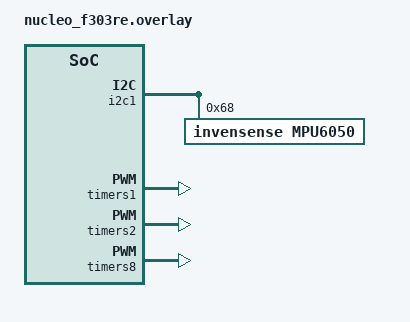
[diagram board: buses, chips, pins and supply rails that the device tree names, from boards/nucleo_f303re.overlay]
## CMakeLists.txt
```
cmake_minimum_required(VERSION 3.13.1)
find_package(Zephyr REQUIRED HINTS $ENV{ZEPHYR_BASE})
project(app)

target_sources(app PRIVATE src/main.c)
```

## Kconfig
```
menu "Zephyr"
source "Kconfig.zephyr"
endmenu

menu "Application"

module = APP
module-str = APP
source "subsys/logging/Kconfig.template.log_config"

menuconfig APP_MOTORS
    bool "Motors API"
    default y
    help
      Generic motor control API.
      Implemented over PWM API but may support different
      backends in the future.

if APP_MOTORS

    config APP_MOTORS_PWM_ZEPHYR
        bool "Zephyr-based PWM motors implementation"
        default y
        depends on PWM_MOTORS_DRV
        help
        Use Zephyr drivers for controlling PWM motors.

    config APP_MOTORS_PWM
        bool "Motors PWM low level API"
        default y
        depends on APP_MOTORS_PWM_ZEPHYR

endif

menuconfig APP_INPUT
    bool "Input API"
    default y
    help
        Generic remote controller input API. Supported backends include standard
        PWM and SBus UART.

if APP_INPUT

config APP_INPUT_SBUS_ZEPHYR
    bool "Zephyr based implementation of SBus UART"
    default n
    select APP_INPUT_SBUS_HAS_DRIVER
    help
      Use Zephyr UART drivers for Sbus UART.

config APP_INPUT_SBUS
    bool "Inputs SBus low level API"
    default y
    depends on UART_INTERRUPT_DRIVEN
    select APP_INPUT_SBUS_ZEPHYR

if APP_INPUT_SBUS

module = APP_INPUT_SBUS
module-str = Input SBus API
source "subsys/logging/Kconfig.template.log_config"

endif # APP_INPUT_SBUS

config APP_INPUT_SBUS_HAS_DRIVER
    bool

endif

menuconfig APP_IMU
    bool "IMU API"
    default y
    help
        IMU (Inertial Measurement Unit) API. Right now the only supported
        implementation uses Zephyr Sensor API.

if APP_IMU

config APP_IMU_ZEPHYR
    bool "Zephyr-based IMU API"
    default y
    depends on SENSOR
    help
        Use Zephyr sensor API for IMU data

endif

endmenu
```

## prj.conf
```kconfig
# Sensor API
CONFIG_SENSOR=y

# PWM capture API
CONFIG_PWM_CAPTURE=y

# logging
CONFIG_LOG=y
CONFIG_SENSOR_LOG_LEVEL_INF=y

# misc
CONFIG_ASSERT=y
CONFIG_REBOOT=y

# CMSIS kernel
CONFIG_POLL=y
CONFIG_NUM_PREEMPT_PRIORITIES=56
CONFIG_CMSIS_RTOS_V2=y
CONFIG_SYS_CLOCK_TICKS_PER_SEC=1000
CONFIG_CMSIS_V2_THREAD_DYNAMIC_MAX_COUNT=10
CONFIG_HEAP_MEM_POOL_SIZE=2048
CONFIG_CMSIS_V2_MSGQ_MAX_DYNAMIC_SIZE=1024

# CMSIS_DSP
CONFIG_NEWLIB_LIBC=y
CONFIG_NEWLIB_LIBC_NANO=n
CONFIG_CMSIS_DSP=y
CONFIG_CMSIS_DSP_CONTROLLER=y
CONFIG_CMSIS_DSP_QUATERNIONMATH=y

# Shell
CONFIG_SHELL=y
CONFIG_SETTINGS_SHELL=y

# NVM Settings
CONFIG_FLASH=y
CONFIG_FLASH_MAP=y
CONFIG_NVS=y
CONFIG_SETTINGS=y
CONFIG_SETTINGS_NVS=y

CONFIG_CBPRINTF_FP_SUPPORT=y

CONFIG_LED=y
```

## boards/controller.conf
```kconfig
CONFIG_APP_INPUT_SBUS=y
```

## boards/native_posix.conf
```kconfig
CONFIG_APP_MOTORS=n
CONFIG_APP_INPUT=n
CONFIG_APP_IMU=n
```

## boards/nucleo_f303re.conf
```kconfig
CONFIG_MPU6050=y
CONFIG_PWM=y
CONFIG_PWM_STM32=y
CONFIG_PWM_CAPTURE=y
```

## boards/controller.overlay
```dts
/ {
    chosen {
        zephyr,code-partition = &slot0_partition;
        zephyr,settings-partition = &storage_partition;
    };

    aliases {
        pwm-inputs = &pwm_inputs;
        pwm-motors = &pwm_motors;
        imu = &lsm6dso;
        sbus = &sbus_uart;
        leds = &leds;
    };

    pwm_inputs: pwm-inputs {
        compatible = "pwm-inputs";
        channel0: channel0 {
            pwms = < &pwm0 1 0 0 >;
        };
        channel1: channel1 {
            pwms = < &pwm0 2 0 0 >;
        };
        channel2: channel2 {
            pwms = < &pwm1 1 0 0 >;
        };
        channel3: channel3 {
            pwms = < &pwm1 2 0 0 >;
        };
        channel4: channel4 {
            pwms = < &pwm2 1 0 0 >;
        };
        channel5: channel5 {
            pwms = < &pwm2 2 0 0 >;
        };

    };

    pwm_motors: pwm-motors {
        compatible = "pwm-motors";
        motor0: motor0 {
            pwms = < &pwm0 3 0 0 >;
        };
        motor1: motor1 {
            pwms = < &pwm0 4 0 0 >;
        };
        motor2: motor2 {
            pwms = < &pwm2 3 0 0 >;
        };
        motor4: motor4 {
            pwms = < &pwm2 4 0 0 >;
        };
    };
};

&lsm6dso {
    accel-range = < 2 >;
    /* LPF1 cutoff frequency 104 / 2 Hz. */
    accel-odr = < 4 >;
    gyro-range = < 2 >;
    /* LPF2 cutoff frequency 104 / 2 Hz. */
    gyro-odr = < 4 >;
};

sbus_uart: &usart3 {
    data-bits = < 8 >;
    parity = "even";
    stop-bits = "2";
};

&flash0 {
    partitions {
        compatible = "fixed-partitions";
        #address-cells = <1>;
        #size-cells = <1>;

        slot0_partition: partition@0 {
            label = "image-0";
            reg = <0x00000000 0x00076000>;
        };
        storage_partition: partition@76000 {
            label = "storage";
            reg = <0x00076000 0x00004000>;
        };
    };
};
```

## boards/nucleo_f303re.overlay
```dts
/ {
    aliases {
        pwm-inputs = &pwm_inputs;
        imu = &mpu6050;
    };

    pwm_inputs: pwm-inputs {
        compatible = "pwm-inputs";
        channel0: channel0 {
            pwms = < &pwm0 1 0 0 >;
        };
        channel1: channel1 {
            pwms = < &pwm0 2 0 0 >;
        };
        channel2: channel2 {
            pwms = < &pwm1 1 0 0 >;
        };
        channel3: channel3 {
            pwms = < &pwm1 2 0 0 >;
        };
        channel4: channel4 {
            pwms = < &pwm2 1 0 0 >;
        };
        channel5: channel5 {
            pwms = < &pwm2 2 0 0 >;
        };
    };
};

&i2c1 {
    mpu6050: mpu6050@68 {
        status = "okay";
        compatible = "invensense,mpu6050";
        reg = < 0x68 >;
    };
};

&timers1 {
    status = "okay";
    st,prescaler = <100>;

    pwm0: pwm {
        status = "okay";
        pinctrl-0 = < &tim1_ch1_pc0 &tim1_ch2_pc1 >;
	    pinctrl-names = "default";
    };
};

&timers2 {
    status = "okay";
    st,prescaler = <100>;

    pwm1: pwm {
        status = "okay";
        pinctrl-0 = < &tim2_ch1_pa0 &tim2_ch2_pa1 >;
        pinctrl-names = "default";
    };
};

&timers8 {
    status = "okay";
    st,prescaler = <100>;

    pwm2: pwm {
        status = "okay";
        pinctrl-0 = < &tim8_ch1_pc6 &tim8_ch2_pc7 >;
        pinctrl-names = "default";
    };
};

/*
&timers3 {
    status = "okay";
    st,prescaler = <100>;

    pwm3: pwm {
        status = "okay";
        pinctrl-0 = < &tim3_ch1_pb4 >;
        pinctrl-names = "default";
    };
};

&timers4 {
    status = "okay";
    st,prescaler = <100>;

    pwm4: pwm {
        status = "okay";
        pinctrl-0 = < &tim4_ch1_pa11 &tim4_ch2_pa12 >;
        pinctrl-names = "default";
    };
};
*/

/* This one will not work together with timers1 due to shared IRQ */
&timers15 {
    status = "disabled";

    pwm5: pwm {
        status = "disabled";
    };
};
```

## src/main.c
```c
#include "controller/controller.h"
#include "controller/pid.h"
#include "zephyr/sys/printk.h"
#include <controller/configs.h>
#include <controller/config_dispatcher.h>
#include <app/logging.h>
#include <controller/imu.h>
#include <controller/filter.h>
#include <controller/attitude.h>
#include <app/unit.h>
#include <controller/mixer.h>
#include <controller/pid_inst.h>
#include <controller/motors.h>
#include <app/calc.h>

#include <zephyr/kernel.h>

#include <cmsis_os2.h>

APP_LOG_MODULE_REGISTER(main, LOG_LEVEL_INF);

static struct {
    float throttle;
} input;

static bool armed = false;

osSemaphoreId_t data_filled_sem;
osSemaphoreId_t data_empty_sem;

/* RX input channels. */
float rx_data[CHANNEL_FUNC_LAST];

void input_cb(float *data, int size)
{
    if (osOK == osSemaphoreAcquire(data_empty_sem, 0)) {
        memcpy(rx_data, data, size);
        osSemaphoreRelease(data_filled_sem);
    } else {
        return;
    }
}

int main(void)
{
    if (!configs_load_all()) {
        LOG_ERR("Failed to load configuration from memory!");
        return -1;
    }
    LOG_INF("Loaded configuration from memory");

    if (!config_dispatcher_update_all()) {
        LOG_ERR("Failed to apply configurations!");
        return -1;
    }
    LOG_INF("Configuration applied to subsystems");

    // TODO: Implement separate controller module and use it to control mode
    struct controller_config ctrl_cfg;
    configs_get_controller(&ctrl_cfg);
    LOG_INF("Controller mode: %s", ctrl_cfg.mode == CONTROLLER_MODE_ANGLE ? "angle" : "rate");

    struct imu_data imu_data = {};
    float angles[2];
    float input_throttle = 0;
    mixer_configure_default();

    data_empty_sem = osSemaphoreNew(1, 1, NULL);
    data_filled_sem = osSemaphoreNew(1, 0, NULL);
    if (!data_empty_sem || !data_filled_sem) {
        LOG_ERR("Failed to create data semaphores");
    }

    input_init(input_cb);
    input_start();

    struct input_channel_config cfg;
    (void)input_get_config(CHANNEL_ARM, &cfg);

    float req_pitch = 0.0;
    float req_roll = 0.0;
    float req_yaw = 0.0;
    float req_throttle = 0.0;
    float arm_val = 0.0;

        /* Value needs to be more than 60% of the signal. */
    float arm_threshold = (cfg.max_val + cfg.min_val) / 1.5;

    while (1) {
        /* Read IMU data.*/
        imu_get_data(&imu_data);
        /* Estimate attitude. Basic euler angles. */
        attitude_euler_from_acc(angles, imu_data.accel);

        /* Convert to degrees for further calculations. */
        for(int i = 0; i < 2; i++) {
            angles[i] = RAD_TO_DEG_F(angles[i]);
        }

        if (osOK == osSemaphoreAcquire(data_filled_sem, 0)) {
            req_pitch = rx_data[CHANNEL_PITCH];
            req_roll = rx_data[CHANNEL_ROLL];
            req_yaw = rx_data[CHANNEL_YAW];
            req_throttle = rx_data[CHANNEL_THROTTLE];
            arm_val = rx_data[CHANNEL_ARM];
            osSemaphoreRelease(data_empty_sem);
        }

        input_throttle = req_throttle;
        /* TODO: Allow to create binary channels. For now just assume armed when value is more
        than half. */
        if (arm_val > arm_threshold && !armed) {
            LOG_WRN("Arming motors! input: %.2f", arm_val);
            armed = true;
        } else if (arm_val < arm_threshold && armed) {
            LOG_INF("Disarming motors!");
            armed = false;
        }

        /* Reduce sensitivity in the middle position. */
        req_pitch = IS_BETWEEN(req_pitch, -1, 1) ? 0 : req_pitch;
        req_roll = IS_BETWEEN(req_roll, -1, 1) ? 0 : req_roll;
        req_yaw = IS_BETWEEN(req_yaw, -1, 1) ? 0 : req_yaw;

        float req_pitch_rate = req_pitch;
        float req_roll_rate = req_roll;

        if (ctrl_cfg.mode == CONTROLLER_MODE_ANGLE) {
            float pitch_angle_error = req_pitch - angles[0];
            float roll_angle_error = req_roll - angles[1];
            req_pitch_rate = pid_inst_process(PID_ANGLE, AXIS_PITCH, pitch_angle_error);
            req_roll_rate = pid_inst_process(PID_ANGLE, AXIS_ROLL, roll_angle_error);
        }

        /* Angle PID controller provides target angular velocity. */
        float pitch_rate_error = req_pitch_rate - imu_data.ang_v[1];
        float roll_rate_error = req_roll_rate - imu_data.ang_v[0];
        float yaw_rate_error = req_yaw - RAD_TO_DEG_F(imu_data.ang_v[2]);

        /* Process rate PIDs. */
        float pitch_pid = pid_inst_process(PID_RATE, AXIS_PITCH, pitch_rate_error);
        float roll_pid = pid_inst_process(PID_RATE, AXIS_ROLL, roll_rate_error);
        float yaw_pid = pid_inst_process(PID_RATE, AXIS_YAW, yaw_rate_error);

        /* Failsafe. */
        if (!armed) {
            motor_set(MOTOR_FRONT_LEFT, 0);
            motor_set(MOTOR_FRONT_RIGHT, 0);
            motor_set(MOTOR_BACK_LEFT, 0);
            motor_set(MOTOR_BACK_RIGHT, 0);
            pid_inst_reset_all();
            goto sleep;
        }

        struct mixer in = {
            .throttle = (int) input_throttle,
            .roll = (int) roll_pid,
            .yaw = (int) yaw_pid,
            .pitch = (int) pitch_pid,
        };

        /* Mix the output between motors. */
        uint32_t throttle_fl = mixer_get_motor_throttle(MOTOR_FRONT_LEFT, &in);
        uint32_t throttle_fr = mixer_get_motor_throttle(MOTOR_FRONT_RIGHT, &in);
        uint32_t throttle_bl = mixer_get_motor_throttle(MOTOR_BACK_LEFT, &in);
        uint32_t throttle_br = mixer_get_motor_throttle(MOTOR_BACK_RIGHT, &in);

        /* Apply throttle to motors. */
        /** TODO: Use percentage (perhaps float) to set throttle to motors.
            * This assumes knowledge about the configured range.
            */
        motor_set(MOTOR_FRONT_LEFT, throttle_fl > 1000 ? 1000 : throttle_fl);
        motor_set(MOTOR_FRONT_RIGHT, throttle_fr > 1000 ? 1000 : throttle_fr);
        motor_set(MOTOR_BACK_LEFT, throttle_bl > 1000 ? 1000 : throttle_bl);
        motor_set(MOTOR_BACK_RIGHT, throttle_br > 1000 ? 1000 : throttle_br);

sleep:
        k_sleep(K_MSEC(1));
    }
        return 0;
}
```

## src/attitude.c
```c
#include <math.h> /** TODO: Consider using cmsis fastmath */
#include <controller/attitude.h>
#include <controller/quaternion.h>
#include <app/calc.h>

/** See: https://folk.ntnu.no/skoge/prost/proceedings/ecc-2013/data/papers/0927.pdf
  * Access 24.04.2023
  *
  * For more useful info about converting quaternion to euler see:
  * http://www.euclideanspace.com/maths/geometry/rotations/conversions/quaternionToEuler/index.htm
  *
  * TODO: Handle singularities.
  * TODO: cmsis fastmath could probably be used insted of math.h
  */
void attitude_quaternion_to_euler(float q[4], float ang[3]) {
    float tmp_1, tmp_2;
    float sqw = q[0] * q[0];
    float sqx = q[1] * q[1];
    float sqy = q[2] * q[2];
    float sqz = q[3] * q[3];
    // roll
    tmp_1 = 2.0f * (q[0] * q[1] + q[2] * q[3]);
    tmp_2 = sqw - sqx - sqy + sqz;
    ang[1] = atan2f(tmp_1, tmp_2);
    // pitch
    tmp_1 = 2.0f * (q[0] * q[2] - q[3] * q[1]);
    ang[0] = asin(tmp_1);
    // yaw
    tmp_1 = 2.0f * (q[0] * q[3] + q[1] * q[2]);
    tmp_2 = sqw + sqx - sqy - sqz;
    ang[2] = atan2f(tmp_1, tmp_2);
};

void attitude_euler_from_acc(float angles[2], float acc[3]) {
    angles[0] = atan2(-1 * acc[0], sqrt(acc[1] * acc[1] + acc[2] * acc[2]));
    angles[1] = atan2(acc[1], acc[2]);
}

void attitude_propagate_quaternion(float q_att[4], float ang_v[3], float dt) {
    float q_dt[4] = {1.0f, 0.0f, 0.0f, 0.0f};
    float q_v[4] = {0.0f, ang_v[0], ang_v[1], ang_v[2]};

    quaternion_product(q_att, q_v, q_dt);
    for (int i = 0; i < 4; i++) {
        q_dt[i] *= 0.5f;
    }
    /**
     * TODO: Don't run operations in-place?
     */
    quaternion_normalize(q_dt, q_dt);
    calc_integrate(q_att, q_dt, 4, dt);
    quaternion_normalize(q_att, q_att);
}
```

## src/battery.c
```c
#include <cmsis_os2.h>
#include <controller/fuel_gauge.h>
#include <controller/battery.h>
#include <controller/indications.h>

static osThreadId_t tid;
static osThreadAttr_t tattr;

static void battery_monitor_thread(void *arg)
{
    while (true) {
        double charge = fuel_gauge_get_charge();
        if (charge <= BATTERY_CHARGE_WARNING_THRESHOLD
                && charge > BATTERY_CHARGE_CRITICAL_THRESHOLD) {
            indications_notify_status(BATTERY_CHARGE, BATTERY_CHARGE_WARNING);
        } else if (charge <= BATTERY_CHARGE_CRITICAL_THRESHOLD) {
            indications_notify_status(BATTERY_CHARGE, BATTERY_CHARGE_CRITICAL);
        }
        osDelay(BATTERY_MONITOR_INTERVAL);
    }
}

void battery_monitor_start(void)
{
    tattr.priority = osPriorityLow;
    tid = osThreadNew(battery_monitor_thread, NULL, &tattr);
}
```

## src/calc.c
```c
#include <app/calc.h>

void calc_integrate(float *value, float *d, float n_terms, float dt) {
    for (int i = 0; i < n_terms; i++) {
        /** Really basic euler method for now. */
        value[i] += d[i] * dt;
    }
}
```

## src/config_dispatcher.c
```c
#include <controller/config_dispatcher.h>
#include <controller/configs.h>
#include <controller/pid_inst.h>
#include <controller/motors.h>
#include <controller/input.h>

#ifdef CONFIG_APP_MOTORS

static enum motor config_key_to_motor(enum motor_config_key key)
{
    switch (key) {
    case CONFIG_MOTOR_BL_CONFIG:
        return MOTOR_BACK_LEFT;
    case CONFIG_MOTOR_FR_CONFIG:
        return MOTOR_FRONT_RIGHT;
    case CONFIG_MOTOR_FL_CONFIG:
        return MOTOR_FRONT_LEFT;
    case CONFIG_MOTOR_BR_CONFIG:
        return MOTOR_BACK_RIGHT;
    default:
        return -1;
    }
    return -1;
}

bool config_dispatcher_update_motors(void)
{
    for (int i = 0; i < CONFIG_MOTOR_LAST; i++) {
        struct motor_config cfg;

        if (!configs_get_motor(i, &cfg)) {
            return false;
        }
        if (!motor_configure(config_key_to_motor(i), &cfg)) {
            return false;
        }
    }
    return true;
}

#else

bool config_dispatcher_update_motors(void)
{
    return true;
}

#endif

static enum axis config_key_to_pid_axis(enum pid_config_key key)
{
    switch (key) {
    case CONFIG_PID_PITCH:
        return AXIS_PITCH;
    case CONFIG_PID_ROLL:
        return AXIS_ROLL;
    case CONFIG_PID_YAW:
        return AXIS_YAW;
    default:
        return -1;
    }
    return -1;
}

bool config_dispatcher_update_pid_rate(void)
{
    for (int i = 0; i < CONFIG_PID_LAST; i++) {
        struct pid_config cfg;

        if (!configs_get_pid_rate(i, &cfg)) {
            return false;
        }
        pid_inst_tune(PID_RATE, config_key_to_pid_axis(i), cfg.Kd, cfg.Ki, cfg.Kp);
    }
    return true;
}

bool config_dispatcher_update_pid_angle(void)
{
    for (int i = 0; i < CONFIG_PID_LAST; i++)
    {
        struct pid_config cfg;

        if (!configs_get_pid_angle(i, &cfg)) {
            return false;
        }
        pid_inst_tune(PID_ANGLE, config_key_to_pid_axis(i), cfg.Kd, cfg.Ki, cfg.Kp);
    }
    return true;
}

bool config_dispatcher_update_controller_mode(void)
{
    // TODO: Add controller module and API to choose rate / angle mode.
    return true;
}

#ifdef CONFIG_APP_INPUT

static enum input_channel config_key_to_input_channel(enum input_config_key key)
{
    switch (key) {
    case CONFIG_INPUT_CHANNEL_PITCH_CONFIG:
        return CHANNEL_PITCH;
    case CONFIG_INPUT_CHANNEL_ROLL_CONFIG:
        return CHANNEL_ROLL;
    case CONFIG_INPUT_CHANNEL_YAW_CONFIG:
        return CHANNEL_YAW;
    case CONFIG_INPUT_CHANNEL_THROTTLE_CONFIG:
        return CHANNEL_THROTTLE;
    case CONFIG_INPUT_CHANNEL_ARM_CONFIG:
        return CHANNEL_ARM;
    default:
        return -1;
    }
    return -1;
}

bool config_dispatcher_update_input(void)
{
    for (int i = 0; i < CONFIG_INPUT_CHANNEL_CONFIG_LAST; i++) {
        struct input_channel_config cfg;
        struct input_channel_pwm_calib calib;
        if (!configs_get_input_config(i, &cfg)) {
            return false;
        }
        if (!configs_get_input_calib(i, &calib)) {
            return false;
        }
        if (!input_configure_channel(config_key_to_input_channel(i), &cfg)) {
            return false;
        }
        if (!input_set_calibration(config_key_to_input_channel(i), &calib)) {
            return false;
        }
    }
    return true;
}

#else

bool config_dispatcher_update_input(void)
{
    return true;
}

#endif

bool config_dispatcher_update_all(void)
{
    return (config_dispatcher_update_motors()
        && config_dispatcher_update_input()
        && config_dispatcher_update_pid_rate()
        && config_dispatcher_update_pid_angle());
}
```

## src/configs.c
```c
#include <controller/low_level/configs_storage.h>
#include <controller/configs.h>

#define CONFIGS_GET(configs, key, dest) \
{ \
    if (!dest) { \
        return false; \
    } \
    *dest = configs[key]; \
    return true; \
}

#define CONFIGS_SET(configs, key, src) \
{ \
    if (!src) { \
        return false; \
    } \
    configs[key] = *src; \
    return true; \
}

static struct pid_config pid_configs_rate[CONFIG_PID_LAST];
static struct pid_config pid_configs_angle[CONFIG_PID_LAST];
static struct motor_config motor_configs[CONFIG_MOTOR_LAST];
static struct input_channel_pwm_calib input_calibs[CONFIG_INPUT_CHANNEL_CONFIG_LAST];
static struct input_channel_config input_configs[CONFIG_INPUT_CHANNEL_CONFIG_LAST];
static struct controller_config ctrl_config[1];

bool configs_get_pid_rate(enum pid_config_key key, struct pid_config *dst)
{
    CONFIGS_GET(pid_configs_rate, key, dst);
}

bool configs_set_pid_rate(enum pid_config_key key, struct pid_config *src)
{
    CONFIGS_SET(pid_configs_rate, key, src);
}

bool configs_get_pid_angle(enum pid_config_key key, struct pid_config *src)
{
    CONFIGS_GET(pid_configs_angle, key, src);
}

bool configs_set_pid_angle(enum pid_config_key key, struct pid_config *src)
{
    CONFIGS_SET(pid_configs_angle, key, src);
}

bool configs_get_motor(enum motor_config_key key, struct motor_config *dst)
{
    CONFIGS_GET(motor_configs, key, dst);
}

bool configs_set_motor(enum motor_config_key key, struct motor_config *src)
{
    CONFIGS_SET(motor_configs, key, src);
}

bool configs_get_input_config(
    enum input_config_key key, struct input_channel_config *dst)
{
    CONFIGS_GET(input_configs, key, dst);
}

bool configs_set_input_config(
    enum input_config_key key, struct input_channel_config *src)
{
    CONFIGS_SET(input_configs, key, src);
}

bool configs_get_input_calib(
    enum input_config_key key, struct input_channel_pwm_calib *dst)
{
    CONFIGS_GET(input_calibs, key, dst);
}

bool configs_set_input_calib(
    enum input_config_key key, struct input_channel_pwm_calib *src)
{
    CONFIGS_SET(input_calibs, key, src);
}

bool configs_set_controller(struct controller_config *src)
{
    CONFIGS_SET(ctrl_config, 0, src);
}

bool configs_get_controller(struct controller_config *dst)
{
    CONFIGS_GET(ctrl_config, 0, dst);
}

bool configs_save_all(void)
{
    bool rc = true;
    rc &= configs_storage_save_one("motors", motor_configs, sizeof(motor_configs));
    rc &= configs_storage_save_one("pid/rate", pid_configs_rate, sizeof(pid_configs_rate));
    rc &= configs_storage_save_one("pid/angle", pid_configs_angle, sizeof(pid_configs_angle));
    rc &= configs_storage_save_one("input/config", input_configs, sizeof(input_configs));
    rc &= configs_storage_save_one("input/calib", input_calibs, sizeof(input_calibs));
    rc &= configs_storage_save_one("controller", ctrl_config, sizeof(ctrl_config));
    return rc;
}

bool configs_load_all(void)
{
    bool rc = true;
    rc &= configs_storage_load_one("motors", motor_configs, sizeof(motor_configs));
    rc &= configs_storage_load_one("pid/rate", pid_configs_rate, sizeof(pid_configs_rate));
    rc &= configs_storage_load_one("pid/angle", pid_configs_angle, sizeof(pid_configs_angle));
    rc &= configs_storage_load_one("input/config", input_configs, sizeof(input_configs));
    rc &= configs_storage_load_one("input/calib", input_calibs, sizeof(input_calibs));
    rc &= configs_storage_load_one("controller", ctrl_config, sizeof(ctrl_config));
    return rc;
}
```

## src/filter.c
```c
#include <app/calc.h>
#include <controller/filter.h>

void filter_complimentary(float *input1, float *input2, float *output, size_t len, float alpha) {
    alpha = MIN(1.0, alpha);
    alpha = MAX(0.0, alpha);

    for (int i = 0; i < len; i++) {
        output[i] = alpha * input1[i] +  (1.0 - alpha) * input2[i];
    }
}
```

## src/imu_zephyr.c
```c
#include <zephyr/sys/__assert.h>
#include <zephyr/device.h>
#include <zephyr/drivers/sensor.h>
#include <zephyr/logging/log.h>
#include <app/imu.h>

LOG_MODULE_REGISTER(imu_sensor, CONFIG_SENSOR_LOG_LEVEL);

BUILD_ASSERT(DT_NODE_EXISTS(DT_ALIAS(imu)), "No IMU device found under 'imu' alias!");
#define DT_IMU DT_ALIAS(imu)

static const struct device *imu = DEVICE_DT_GET(DT_IMU);

static void sensor_values_to_imu_data(struct sensor_value *accel_data,
        struct sensor_value *gyro_data, struct imu_data *imu_data) {
    for (int i = 0; i < 3; i++) {
        imu_data->accel[i] = (float)sensor_value_to_double(&accel_data[i]);
        imu_data->ang_v[i] = (float)sensor_value_to_double(&gyro_data[i]);
    }
}

int imu_get_data(struct imu_data *imu_data) {
    __ASSERT(imu_data, "imu_data can't be NULL");
    struct sensor_value accel_data[3];
    struct sensor_value gyro_data[3];

    if (!device_is_ready(imu)) {
        LOG_ERR("IMU device not ready");
        return -ENODEV;
    }
    int err = sensor_sample_fetch(imu);
    if (err < 0) {
        LOG_ERR("Failed to fetch IMU sample");
        return -EIO;
    }
    err = sensor_channel_get(imu, SENSOR_CHAN_ACCEL_XYZ, accel_data);
    if (err < 0) {
        LOG_ERR("Failed to read accelerometer data");
        return -EIO;
    }
    err = sensor_channel_get(imu, SENSOR_CHAN_GYRO_XYZ, gyro_data);
    if (err < 0) {
        LOG_ERR("Failed to read gyroscope data");
        return -EIO;
    }
    sensor_values_to_imu_data(accel_data, gyro_data, imu_data);
    return 0;
}
```

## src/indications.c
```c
#include <cmsis_os2.h>
#include <controller/low_level/led_ll.h>
#include <controller/status.h>
#include <controller/indications.h>
#include <app/logging.h>

APP_LOG_MODULE_REGISTER(indications, APP_LOG_LEVEL_DBG);

#define MSQ_OBJECTS 10

struct indication_msg {
    struct indication_config *buf;
};

static struct {
    int idx;
    osThreadId_t tid;
    osThreadAttr_t tattr;
    osMessageQueueId_t queue;
} leds[NUM_LEDS];

static struct indication_config battery_charge_ind[BATTERY_CHARGE_LAST] = {
    [BATTERY_CHARGE_UNKNOWN] = { // battery ok, blue LED off
        .resource = INDICATION_LED,
        .led = {
            .idx = 0,
            .type = INDICATION_LED_STATIC,
            .led_static_on = false,
        },
    },
    [BATTERY_CHARGE_WARNING] = { // battery warning, blue led static
        .resource = INDICATION_LED,
        .led = {
            .idx = 0,
            .type = INDICATION_LED_STATIC,
            .led_static_on = true,
        },
    },
    [BATTERY_CHARGE_CRITICAL] = { // battery critical, blue led blinking
        .resource = INDICATION_LED,
        .led = {
            .idx = 0,
            .type = INDICATION_LED_BLINK,
            .led_blink = {
                .time_off = 500,
                .time_on = 500,
            },
        },
    },
};

static struct indication_config motor_armed_ind[MOTORS_ARM_LAST] = {
    [MOTORS_ARMED] = {
        .resource = INDICATION_LED,
        .led = {
            .idx = 1,
            .type = INDICATION_LED_STATIC,
            .led_static_on = true,
        },
    },
};

/* Entry function for a LED thread. Pointer to LED idx should be passed as argument. */
static void led_thread_entry(void *arg);
/* Wait for next indication for the specified LED. */
static struct indication_config *wait_next_led_indication(uint8_t led, int timeout);
/* Publish the specified indication to the corresponding resource. */
static void publish_indication(struct indication_config *cfg);

/* Blink an LED with the specified time off and time on and wait for next indications.
 * Will stop and return upon reception of a new indication.
 */
static struct indication_config *blink(uint8_t led, int t_on, int t_off);
/* Similar to 'blink', but simply turn the LED on or off. */
static struct indication_config *led_static(uint8_t led, bool on);


static struct indication_config *wait_next_led_indication(uint8_t led, int timeout)
{
    struct indication_msg msg;
    if (osOK == osMessageQueueGet(leds[led].queue, &msg, NULL, timeout))
    {
        struct indication_config *cfg = (struct indication_config *)msg.buf;
        return cfg;
    }
    return NULL;
}

static void publish_indication(struct indication_config *cfg)
{
    enum indication_resource rsc = cfg->resource;
    if (rsc == INDICATION_LED) {
        int led_idx = cfg->led.idx;
        struct indication_msg msg;
        msg.buf = cfg;
        osMessageQueuePut(leds[led_idx].queue, &msg, 0, 0);
    }
}

static struct indication_config *blink(uint8_t led, int t_on, int t_off)
{
    struct indication_config *next = NULL;
    while(true) {
        led_ll_on(led);
        next = wait_next_led_indication(led, t_on);
        if (next) {
            return next;
        }
        led_ll_off(led);
        next = wait_next_led_indication(led, t_off);
        if (next) {
            return next;
        }
    }
}

static struct indication_config *led_static(uint8_t led, bool on)
{
    struct indication_config *next = NULL;
    if (on) {
        led_ll_on(led);
    } else {
        led_ll_off(led);
    }
    next = wait_next_led_indication(led, osWaitForever);
    return next;
}

static void led_thread_entry(void *arg)
{
    int led_inst = *(uint8_t*)arg;
    struct indication_config *next = wait_next_led_indication(led_inst, osWaitForever);;
    // ASSERT(next); // Should never be NULL
    while (true) {
        switch (next->led.type) {
        case INDICATION_LED_STATIC: {
            bool on = next->led.led_static_on;
            next = led_static(led_inst, on);
            break;
        }
        case INDICATION_LED_BLINK: {
            int t_off = next->led.led_blink.time_off;
            int t_on = next->led.led_blink.time_on;
            next = blink(led_inst, t_off, t_on);
            break;
        }
        default:
            break;
        }
        // ASSERT(next); // Should never be NULL
    }
}

void indications_notify_status(enum status status, int flag)
{
    switch (status) {
    case BATTERY_CHARGE: {
        struct indication_config *cfg = &battery_charge_ind[flag];
        publish_indication(cfg);
        break;
    }
    case MOTORS_ARMING: {
        struct indication_config *cfg = &motor_armed_ind[flag];
        publish_indication(cfg);
        break;
    }
    default:
        break;
    }
}

void indications_init(void)
{
    for (int i = 0; i < NUM_LEDS; i++) {
        leds[i].idx = i;
        leds[i].tattr.priority = osPriorityLow;
        leds[i].tid = osThreadNew(led_thread_entry, &leds[i].idx, &leds[i].tattr);
        leds[i].queue = osMessageQueueNew(MSQ_OBJECTS, sizeof(struct indication_msg), NULL);
        // ASSERT(leds[i].tid && leds[i].queue);
        LOG_INF("Created indication thread for LED: %d", leds[i].idx);
    }
}
```

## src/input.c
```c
#include <stdbool.h>
#include <stdlib.h>
#include <string.h>
#include <app/logging.h>
#include <controller/input.h>
#include <controller/low_level/input_ll.h>
#include <controller/low_level/input_sbus.h>
#include <cmsis_os2.h>

APP_LOG_MODULE_REGISTER(input, APP_LOG_LEVEL_INF);

static bool started = false;

struct input_channel_data {
    struct input_channel_config config;
    struct input_channel_pwm_calib calib;
    bool configured;
    bool calibrated_min;
    bool calibrated_max;
    uint16_t raw_val;
};

static input_callback app_cb;
static float values[CHANNEL_FUNC_LAST];

#ifdef CONFIG_APP_INPUT_SBUS_ZEPHYR
static struct input_ll_api input_ll  = {
    .set_frame_callback = input_sbus_set_frame_callback,
    .start = input_sbus_start,
    .stop = input_sbus_stop,
};
#endif

static struct input_channel_data channels[CHANNEL_FUNC_LAST];

static const char *input_channel_names[] = {
    [CHANNEL_PITCH] = "pitch",
    [CHANNEL_ROLL] = "roll",
    [CHANNEL_YAW] = "yaw",
    [CHANNEL_THROTTLE] = "throttle",
    [CHANNEL_ARM] = "arm",
};

static float input_convert(enum input_channel ch, uint32_t raw_dc);

enum input_channel input_channel_from_string(char *str) {
    for (int i = 0; i < CHANNEL_FUNC_LAST; i++) {
        if (strcmp(str, input_channel_names[i]) == 0) {
            return (enum input_channel)i;
        }
    }
    return CHANNEL_FUNC_LAST;
}

static bool is_channel_valid(enum input_channel ch)  {
    if (ch >= CHANNEL_FUNC_LAST) {
        return false;
    }
    return true;
}

static bool is_channel_configured(enum input_channel ch) {
    return channels[ch].configured;
}

static bool is_channel_calibrated(enum input_channel ch) {
    return channels[ch].calibrated_min && channels[ch].calibrated_max;
}

static void input_ll_callback(uint16_t *data, uint8_t size) {
    for (int i = 0; i < CHANNEL_FUNC_LAST; i++) {
        if (!is_channel_configured(i)) {
            continue;
        }
        channels[i].raw_val = 0;
        uint8_t internal_channel_num = channels[i].config.channel;
        /* This channel is not available in incoming data. */
        if (internal_channel_num >= size) {
            continue;
        }
        channels[i].raw_val = data[internal_channel_num];
        values[i] = input_convert(i, channels[i].raw_val);

        if (app_cb) {
            app_cb(values, sizeof(values));
        }
    }
}

bool input_configure_channel(enum input_channel ch, struct input_channel_config *cfg) {
    if (!is_channel_valid(ch)) {
        APP_LOG_ERR("Invalid channel");
        return false;
    }
    channels[ch].config = *cfg;
    channels[ch].configured = true;
    return true;
}

bool input_get_config(
    enum input_channel ch, struct input_channel_config *config)
{
    if (!is_channel_valid(ch) || !is_channel_configured(ch)) {
        APP_LOG_ERR("Invalid channel or not configured");
        return false;
    }
    *config = channels[ch].config;
    return true;
}

bool input_get_calibration(
    enum input_channel ch, struct input_channel_pwm_calib *calib)
{
    if (!is_channel_calibrated(ch) || !is_channel_valid(ch)) {
        APP_LOG_ERR("Invalid channel or channel not calibrated");
        return false;
    }
    *calib = channels[ch].calib;
    return true;
}

bool input_set_calibration(
    enum input_channel ch, struct input_channel_pwm_calib *calib)
{
    if (!is_channel_configured(ch) || !is_channel_valid(ch)) {
        APP_LOG_ERR("Invalid channel or channel not configured");
        return false;
    }
    if (!calib) {
        return false;
    }
    channels[ch].calib = *calib;
    channels[ch].calibrated_max = true;
    channels[ch].calibrated_min = true;
    return true;
}

static float input_convert(enum input_channel ch, uint32_t raw_dc) {
    // handle channels calibrated in reverse
    int min_dc = (int)channels[ch].calib.min_dc;
    int max_dc = (int)channels[ch].calib.max_dc;
    float min_value = channels[ch].config.min_val;
    float max_value = channels[ch].config.max_val;
    // we have two points (max_dc, max_value) and (min_dc, min_value), use linear equation.
    float slope = (max_value - min_value) / (float)(max_dc - min_dc);
    // max_val = slope * max_dc + offset => b = max_val - (slope * max_dc)
    float offset = max_value - (slope * max_dc);
    float value = slope * raw_dc + offset;
    // make sure value stays in bounds
    if (max_value >= min_value) {
        value = value > max_value ? max_value : value;
        value = value < min_value ? min_value : value;
    } else {  // max_value < min_value ('reversed' channel)
        value = value > min_value ? min_value : value;
        value = value < max_value ? max_value : value;
    }
    return value;
}

uint32_t input_get_channel_raw_value(enum input_channel ch)
{
    if (!is_channel_configured(ch) || !is_channel_valid(ch) || !started) {
        APP_LOG_ERR("Invalid channel, channel not configured or system not started");
        return 0;
    }
    uint16_t data = channels[ch].raw_val;
    APP_LOG_DBG("channel raw duty cycle: %d", (uint32_t)data);
    return (uint32_t)data;
}

float input_get_channel_value(enum input_channel ch) {
    if (!is_channel_valid(ch) || !is_channel_configured(ch) || !is_channel_calibrated(ch)
        || !started) {
            APP_LOG_ERR("Invalid channel, channel not calibrated or system not started");
            return 0;
    }
    uint16_t data = channels[ch].raw_val;
    return input_convert(ch, (uint32_t)data);
}

bool input_init(input_callback cb) {
    if (0 != input_ll.set_frame_callback(input_ll_callback)) {
        return false;
    }
    if (cb) {
        app_cb = cb;
    }
    return true;
}

bool input_start(void) {
    if (0 != input_ll.start()) {
        return false;
    }
    started = true;
    return true;
}

bool input_stop(void) {
    if (0 != input_ll.stop()) {
        return false;
    }
    started = false;
    return true;
}
```

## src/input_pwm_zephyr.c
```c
#include <zephyr/device.h>
#include <drivers/pwm_inputs.h>

#include "input_pwm.h"

BUILD_ASSERT(DT_NODE_EXISTS(DT_ALIAS(pwm_inputs)), "No pwm_inputs device found!");
#define DT_PWM_INPUTS DT_ALIAS(pwm_inputs)

static const struct device *pwm_inputs = DEVICE_DT_GET(DT_PWM_INPUTS);

int input_pwm_get_channel_duty_usec(uint64_t *data, uint8_t channel) {
    return pwm_inputs_get_channel_duty_usec(pwm_inputs, data, channel);
}

int input_pwm_get_num_channels(void) {
    return pwm_inputs_get_num_channels(pwm_inputs);
}
```

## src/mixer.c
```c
#include <controller/mixer.h>
#include <string.h>

static const struct mixer mixer_quad_x_default[MOTOR_LAST] = {
    [MOTOR_FRONT_LEFT] = {
        .throttle = 1.0,
        .pitch = -1.0,
        .roll = 1.0,
        .yaw = -1.0,
    },
    [MOTOR_FRONT_RIGHT] = {
        .throttle = 1.0,
        .pitch = -1.0,
        .roll = -1.0,
        .yaw = 1.0,
    },
    [MOTOR_BACK_LEFT] = {
        .throttle = 1.0,
        .pitch = 1.0,
        .roll = 1.0,
        .yaw = 1.0,
    },
    [MOTOR_BACK_RIGHT] = {
        .throttle = 1.0,
        .pitch = 1.0,
        .roll = -1.0,
        .yaw = -1.0,
    },
};

struct mixer current_mixer[MOTOR_LAST];

bool mixer_configure(const struct mixer *mixer, uint8_t num_motors) {
    if (num_motors > MOTOR_LAST) {
        return false;
    }
    memcpy(current_mixer, mixer, num_motors * sizeof(struct mixer));
    return true;
}

uint32_t mixer_get_motor_throttle(enum motor motor, struct mixer *in) {
    float throttle_fragment = in->throttle * current_mixer[motor].throttle;
    float pitch_fragment = in->pitch * current_mixer[motor].pitch;
    float roll_fragment = in->roll * current_mixer[motor].roll;
    float yaw_fragment = in->yaw * current_mixer[motor].yaw;
    uint32_t throttle = (uint32_t)(throttle_fragment
                                    + pitch_fragment
                                    + roll_fragment
                                    + yaw_fragment);
    return throttle;
}

void mixer_configure_default(void) {
    (void)mixer_configure(mixer_quad_x_default, MOTOR_LAST);
}
```

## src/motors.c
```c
#include <controller/motors.h>
#include <app/logging.h>
#include <string.h>
#include <controller/low_level/motors_pwm.h>

APP_LOG_MODULE_REGISTER(motors, APP_LOG_LEVEL_DBG);

#define MOTOR_PWM_FREQ_HZ 2000UL
#define MOTOR_PWM_PERIOD_NSEC (1000000000UL / MOTOR_PWM_FREQ_HZ)

struct motor_data {
    struct motor_config config;
    bool configured;
};

static struct motor_data motors[MOTOR_LAST];

static bool is_motor_valid(enum motor motor) {
    if (motor >= MOTOR_LAST) {
        return false;
    }
    return true;
}

static const char *motor_names[] = {
    [MOTOR_FRONT_LEFT] = "motor_fl",
    [MOTOR_FRONT_RIGHT] = "motor_fr",
    [MOTOR_BACK_LEFT] = "motor_bl",
    [MOTOR_BACK_RIGHT] = "motor_br",
};

enum motor motor_from_string(char *str) {
    for (int i = 0; i < MOTOR_LAST; i++) {
        if (strcmp(str, motor_names[i]) == 0) {
            return (enum motor)i;
        }
    }
    return MOTOR_LAST;
}

static uint32_t throttle_to_duty(enum motor motor, uint32_t throttle) {
    struct motor_data *current_motor = &motors[motor];
    uint32_t max_throttle = current_motor->config.max_throttle;
    uint32_t max_duty = MOTOR_PWM_PERIOD_NSEC;
    if (max_throttle > max_duty) {
        return max_duty;
    }
    uint32_t step_size = max_duty / max_throttle;
    return throttle * step_size;
}

bool motor_configure(enum motor motor, struct motor_config *cfg) {
    if (!is_motor_valid(motor)) {
        APP_LOG_ERR("Invalid motor");
        return false;
    }
    motors[motor].config = *cfg;
    motors[motor].configured = true;
    return true;
}

bool motor_set(enum motor motor, uint32_t throttle) {
    if (!is_motor_valid(motor)) {
        APP_LOG_ERR("Invalid motor");
        return false;
    }
    uint32_t duty = throttle_to_duty(motor, throttle);
    struct motor_data *current_motor = &motors[motor];
    return motors_pwm_set(current_motor->config.channel, MOTOR_PWM_PERIOD_NSEC, duty);
}
```
